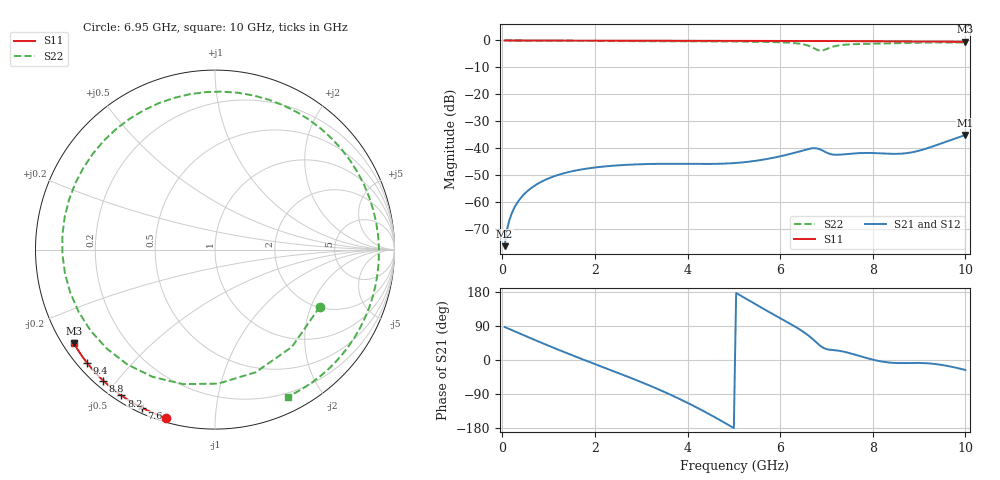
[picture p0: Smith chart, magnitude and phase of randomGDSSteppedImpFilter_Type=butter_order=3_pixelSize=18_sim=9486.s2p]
! freq	dB(S11)	phase(S11)	dB(S12)	phase(S12)
!  dB(S21)	phase(S21)	dB(S22)	phase(S22)
!S-par simulation data
#  GHz  S  DB  R 50
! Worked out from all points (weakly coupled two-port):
!   200 points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, 50 MHz to 10 GHz, reference 50 ohm
!   highest |S21| = -35.08 dB at 10 GHz (marker M1); lowest = -76.4 dB at 50 MHz (marker M2)
!   lowest |S11| = -0.5 dB at 10 GHz (marker M3), VSWR 34.16, Z = 1.6 - j15 ohm
!   |S11| at or under -10 dB: nowhere
!   |S22| runs from -3.7 to 0.0 dB; largest |S21 - S12| = 0
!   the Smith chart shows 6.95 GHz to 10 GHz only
!   S11 on the Smith chart (normalised r, x): 6.95 GHz: 0.02, -0.75; 7.6 GHz: 0.02, -0.64; 8.2 GHz: 0.02, -0.55; 8.8 GHz: 0.03, -0.46; 9.4 GHz: 0.03, -0.38; 10 GHz: 0.03, -0.30
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0.05  -0.00 -0.9  -76.36 87.1  -76.36 87.1  -0.00 -4.6
0.3  -0.01 -5.1  -60.88 73.9  -60.88 73.9  -0.04 -27.0
0.9  -0.02 -15.1  -51.96 42.7  -51.96 42.7  -0.11 -80.7
1.75  -0.04 -29.1  -47.76 1.0  -47.76 1.0  -0.19 -157.1
2.2  -0.05 -36.4  -46.78 -20.1  -46.78 -20.1  -0.22 162.0
2.7  -0.06 -44.4  -46.15 -43.6  -46.15 -43.6  -0.25 116.6
3.4  -0.07 -55.4  -45.79 -78.9  -45.79 -78.9  -0.28 55.3
4.15  -0.09 -66.7  -45.83 -122.3  -45.83 -122.3  -0.32 -3.9
5.05  -0.12 -79.9  -45.46 176.8  -45.46 176.8  -0.40 -67.2
5.7  -0.15 -89.1  -44.04 130.9  -44.04 130.9  -0.54 -113.7
6.25  -0.18 -96.7  -41.97 93.2  -41.97 93.2  -0.89 -166.0
6.5  -0.19 -100.1  -40.78 74.5  -40.78 74.5  -1.44 154.0
6.7  -0.20 -102.9  -40.02 55.4  -40.02 55.4  -2.62 96.7
6.85  -0.21 -104.9  -40.35 39.0  -40.35 39.0  -3.72 24.8
6.95  -0.21 -106.2  -41.17 31.0  -41.17 31.0  -3.54 -28.5
7.15  -0.23 -108.9  -42.37 26.1  -42.37 26.1  -2.27 -103.4
7.6  -0.26 -114.8  -41.92 14.7  -41.92 14.7  -1.37 174.5
8.2  -0.31 -122.7  -41.92 -4.2  -41.92 -4.2  -1.14 99.2
8.35  -0.32 -124.6  -42.04 -6.7  -42.04 -6.7  -1.08 81.8
8.8  -0.36 -130.5  -41.66 -8.0  -41.66 -8.0  -0.90 33.2
9.4  -0.43 -138.4  -38.70 -11.4  -38.70 -11.4  -0.75 -20.5
10  -0.51 -146.5  -35.08 -26.3  -35.08 -26.3  -0.78 -63.8
